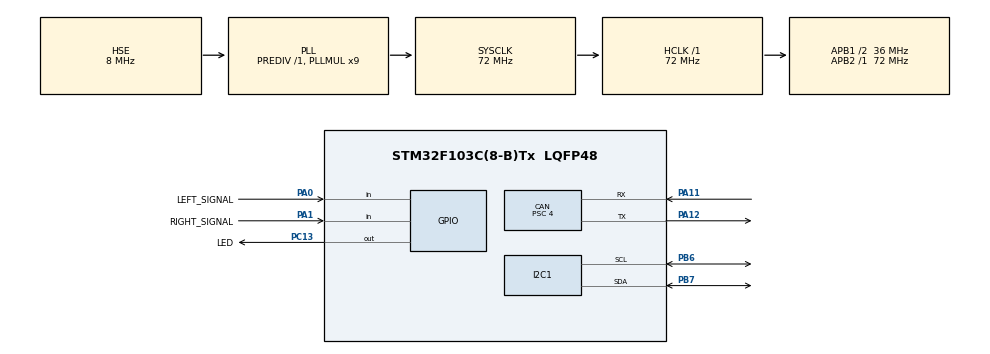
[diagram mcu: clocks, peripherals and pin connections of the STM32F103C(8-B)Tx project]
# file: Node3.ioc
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CAN.ABOM=ENABLE
CAN.BS1=CAN_BS1_12TQ
CAN.BS2=CAN_BS2_5TQ
CAN.CalculateBaudRate=500000
CAN.CalculateTimeBit=2000
CAN.CalculateTimeQuantum=111.11111111111111
CAN.NART=ENABLE
CAN.Prescaler=4
Mcu.Family=STM32F1
Mcu.Name=STM32F103C(8-B)Tx
Mcu.Package=LQFP48
NVIC.PriorityGroup=NVIC_PRIORITYGROUP_4
PA0-WKUP.GPIO_Label=LEFT_SIGNAL
PA0-WKUP.GPIO_PuPd=GPIO_PULLUP
PA0-WKUP.Signal=GPIO_Input
PA1.GPIO_Label=RIGHT_SIGNAL
PA1.GPIO_PuPd=GPIO_PULLUP
PA1.Signal=GPIO_Input
PA11.Mode=CAN_Activate
PA11.Signal=CAN_RX
PA12.Mode=CAN_Activate
PA12.Signal=CAN_TX
PA13.Mode=Serial_Wire
PA13.Signal=SYS_JTMS-SWDIO
PA14.Mode=Serial_Wire
PA14.Signal=SYS_JTCK-SWCLK
PB6.Mode=I2C
PB6.Signal=I2C1_SCL
PB7.Mode=I2C
PB7.Signal=I2C1_SDA
PC13-TAMPER-RTC.GPIO_Label=LED
PC13-TAMPER-RTC.PinState=GPIO_PIN_SET
PC13-TAMPER-RTC.Signal=GPIO_Output
PD0-OSC_IN.Mode=HSE-External-Oscillator
PD0-OSC_IN.Signal=RCC_OSC_IN
PD1-OSC_OUT.Mode=HSE-External-Oscillator
PD1-OSC_OUT.Signal=RCC_OSC_OUT
ProjectManager.HeapSize=0x200
ProjectManager.StackSize=0x400
ProjectManager.TargetToolchain=STM32CubeIDE
RCC.AHBFreq_Value=72000000
RCC.APB1CLKDivider=RCC_HCLK_DIV2
RCC.APB1Freq_Value=36000000
RCC.APB1TimFreq_Value=72000000
RCC.APB2Freq_Value=72000000
RCC.APB2TimFreq_Value=72000000
RCC.HCLKFreq_Value=72000000
RCC.PLLMUL=RCC_PLL_MUL9
RCC.PLLSourceVirtual=RCC_PLLSOURCE_HSE
RCC.SYSCLKFreq_VALUE=72000000
RCC.SYSCLKSource=RCC_SYSCLKSOURCE_PLLCLK
RCC.USBFreq_Value=72000000
board=custom

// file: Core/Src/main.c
/* USER CODE BEGIN Header */
/**
  ******************************************************************************
  * @file    : main.c
  * @brief   : Node 3 -- Environment & Controls
  *            Reads BMP180 temperature and DS3231 RTC via I2C.
  *            Reads Left/Right turn signal GPIO inputs.
  *            Transmits CAN: Temperature, DateTime YYMMDDHHMM, Turn Signals.
  ******************************************************************************
  */
/* USER CODE END Header */

#include "main.h"
#include "can.h"    /* MX_CAN_Init(), hcan handle (defined in can.c)            */
#include "i2c.h"    /* MX_I2C1_Init(), hi2c1 handle (defined in i2c.c)         */
#include "gpio.h"   /* MX_GPIO_Init()                                           */

/* USER CODE BEGIN Includes */
#include <stdint.h>
#include <stdbool.h>
/* USER CODE END Includes */

/* USER CODE BEGIN PD */
/* I2C 8-bit addresses (HAL requires left-shifted 7-bit address)               */
#define BMP180_ADDR_W     (0x77 << 1)    /* 0xEE -- Write                      */
#define BMP180_ADDR_R     (0x77 << 1)    /* Same handle; HAL adds R/W bit      */
#define DS3231_ADDR_W     (0x68 << 1)    /* 0xD0 -- Write                      */
#define DS3231_ADDR_R     (0x68 << 1)    /* Same -- HAL adds R/W bit internally */

#define BMP180_REG_CTRL   0xF4
#define BMP180_REG_OUT_H  0xF6
#define BMP180_CMD_TEMP   0x2E
#define BMP180_CALIB_AC5  0xB2
#define BMP180_CALIB_AC6  0xB4
#define BMP180_CALIB_MC   0xBC
#define BMP180_CALIB_MD   0xBE

#define DS3231_REG_SEC    0x00
#define DEBOUNCE_MS       20U
#define I2C_TIMEOUT_MS    20U

/* Compile-time date/time — expands to build machine local time (Vietnam UTC+7).
 * __DATE__ = "Mmm DD YYYY"  __TIME__ = "HH:MM:SS"
 * Used to initialize DS3231 on first power-up (year == 0). */
#define BUILD_YEAR  ((__DATE__[9] -'0')*10 + (__DATE__[10]-'0'))
#define BUILD_MON   (__DATE__[0]=='J'&&__DATE__[1]=='a'?1: \
                     __DATE__[0]=='F'?2:                   \
                     __DATE__[0]=='M'&&__DATE__[2]=='r'?3: \
                     __DATE__[0]=='A'&&__DATE__[1]=='p'?4: \
                     __DATE__[0]=='M'&&__DATE__[2]=='y'?5: \
                     __DATE__[0]=='J'&&__DATE__[2]=='n'?6: \
                     __DATE__[0]=='J'&&__DATE__[2]=='l'?7: \
                     __DATE__[0]=='A'?8:                   \
                     __DATE__[0]=='S'?9:                   \
                     __DATE__[0]=='O'?10:                  \
                     __DATE__[0]=='N'?11:12)
#define BUILD_DAY   ((__DATE__[4]==' '?0:(__DATE__[4]-'0'))*10 + (__DATE__[5]-'0'))
#define BUILD_HOUR  ((__TIME__[0]-'0')*10 + (__TIME__[1]-'0'))
#define BUILD_MIN   ((__TIME__[3]-'0')*10 + (__TIME__[4]-'0'))
/* USER CODE END PD */

/* NOTE: hcan is declared in can.c / can.h -- do NOT redeclare here.           */
/* NOTE: hi2c1 is declared in i2c.c / i2c.h -- do NOT redeclare here.         */

/* USER CODE BEGIN PV */
static uint16_t bmp_AC5      = 0;
static uint16_t bmp_AC6      = 0;
static int16_t  bmp_MC       = 0;
static int16_t  bmp_MD       = 0;
static bool     bmp_calibrated = false;

typedef struct {
    GPIO_PinState raw_state;
    GPIO_PinState debounced_state;
    uint32_t      last_change_tick;
} Debounce_t;

static Debounce_t sig_left  = { GPIO_PIN_SET, GPIO_PIN_SET, 0 };
static Debounce_t sig_right = { GPIO_PIN_SET, GPIO_PIN_SET, 0 };
/* Default 0xFF: assume absent until HAL_OK confirms presence */
static uint8_t hb_bmp180 = 0xFF;
static uint8_t hb_ds3231 = 0xFF;
/* USER CODE END PV */

void SystemClock_Config(void);

/* USER CODE BEGIN 0 */

static uint8_t debounce_read(Debounce_t *sig, GPIO_TypeDef *port, uint16_t pin)
{
    GPIO_PinState raw = HAL_GPIO_ReadPin(port, pin);
    uint32_t now = HAL_GetTick();
    if (raw != sig->raw_state) { sig->raw_state = raw; sig->last_change_tick = now; }
    if ((now - sig->last_change_tick) >= DEBOUNCE_MS) sig->debounced_state = sig->raw_state;
    return (sig->debounced_state == GPIO_PIN_RESET) ? 1U : 0U;
}

static HAL_StatusTypeDef bmp180_read_calibration(void)
{
    uint8_t buf[2]; HAL_StatusTypeDef ret; uint8_t reg;
    reg = BMP180_CALIB_AC5;
    ret = HAL_I2C_Master_Transmit(&hi2c1, BMP180_ADDR_W, &reg, 1, I2C_TIMEOUT_MS); if (ret != HAL_OK) return ret;
    ret = HAL_I2C_Master_Receive(&hi2c1, BMP180_ADDR_R | 1, buf, 2, I2C_TIMEOUT_MS); if (ret != HAL_OK) return ret;
    bmp_AC5 = ((uint16_t)buf[0] << 8) | buf[1];
    reg = BMP180_CALIB_AC6;
    ret = HAL_I2C_Master_Transmit(&hi2c1, BMP180_ADDR_W, &reg, 1, I2C_TIMEOUT_MS); if (ret != HAL_OK) return ret;
    ret = HAL_I2C_Master_Receive(&hi2c1, BMP180_ADDR_R | 1, buf, 2, I2C_TIMEOUT_MS); if (ret != HAL_OK) return ret;
    bmp_AC6 = ((uint16_t)buf[0] << 8) | buf[1];
    reg = BMP180_CALIB_MC;
    ret = HAL_I2C_Master_Transmit(&hi2c1, BMP180_ADDR_W, &reg, 1, I2C_TIMEOUT_MS); if (ret != HAL_OK) return ret;
    ret = HAL_I2C_Master_Receive(&hi2c1, BMP180_ADDR_R | 1, buf, 2, I2C_TIMEOUT_MS); if (ret != HAL_OK) return ret;
    bmp_MC = (int16_t)(((uint16_t)buf[0] << 8) | buf[1]);
    reg = BMP180_CALIB_MD;
    ret = HAL_I2C_Master_Transmit(&hi2c1, BMP180_ADDR_W, &reg, 1, I2C_TIMEOUT_MS); if (ret != HAL_OK) return ret;
    ret = HAL_I2C_Master_Receive(&hi2c1, BMP180_ADDR_R | 1, buf, 2, I2C_TIMEOUT_MS); if (ret != HAL_OK) return ret;
    bmp_MD = (int16_t)(((uint16_t)buf[0] << 8) | buf[1]);
    bmp_calibrated = true;
    return HAL_OK;
}

static HAL_StatusTypeDef bmp180_read_temperature(int8_t *out_temp_c)
{
    if (!bmp_calibrated) return HAL_ERROR;
    uint8_t buf[2]; HAL_StatusTypeDef ret;
    uint8_t cmd[2] = { BMP180_REG_CTRL, BMP180_CMD_TEMP };
    ret = HAL_I2C_Master_Transmit(&hi2c1, BMP180_ADDR_W, cmd, 2, I2C_TIMEOUT_MS); if (ret != HAL_OK) return ret;
    HAL_Delay(5);   /* BMP180 needs >= 4.5 ms conversion time (OSS=0) */
    uint8_t reg = BMP180_REG_OUT_H;
    ret = HAL_I2C_Master_Transmit(&hi2c1, BMP180_ADDR_W, &reg, 1, I2C_TIMEOUT_MS); if (ret != HAL_OK) return ret;
    ret = HAL_I2C_Master_Receive(&hi2c1, BMP180_ADDR_R | 1, buf, 2, I2C_TIMEOUT_MS); if (ret != HAL_OK) return ret;
    int32_t UT = ((int32_t)buf[0] << 8) | buf[1];
    int32_t X1 = ((UT - (int32_t)bmp_AC6) * (int32_t)bmp_AC5) >> 15;
    int32_t X2 = ((int32_t)bmp_MC << 11) / (X1 + (int32_t)bmp_MD);
    int32_t B5 = X1 + X2;
    int32_t T  = (B5 + 8) >> 4;   /* units: 0.1 degC */
    int32_t temp = T / 10;
    if (temp < -40) temp = -40;
    if (temp > 120) temp = 120;
    *out_temp_c = (int8_t)temp;
    return HAL_OK;
}

static inline uint8_t bcd_to_dec(uint8_t bcd) { return (uint8_t)((bcd >> 4) * 10U + (bcd & 0x0FU)); }
static inline uint8_t dec_to_bcd(uint8_t dec) { return (uint8_t)(((dec / 10) << 4) | (dec % 10)); }

static HAL_StatusTypeDef ds3231_read_datetime(uint8_t *out_buf)
{
    uint8_t rtc_buf[7] = {0}; uint8_t reg = DS3231_REG_SEC; HAL_StatusTypeDef ret;
    ret = HAL_I2C_Master_Transmit(&hi2c1, DS3231_ADDR_W, &reg, 1, I2C_TIMEOUT_MS); if (ret != HAL_OK) return ret;
    ret = HAL_I2C_Master_Receive(&hi2c1, DS3231_ADDR_R | 1, rtc_buf, 7, I2C_TIMEOUT_MS); if (ret != HAL_OK) return ret;
    out_buf[0] = bcd_to_dec(rtc_buf[6]);           /* YY */
    out_buf[1] = bcd_to_dec(rtc_buf[5] & 0x1FU);   /* MM */
    out_buf[2] = bcd_to_dec(rtc_buf[4] & 0x3FU);   /* DD */
    out_buf[3] = bcd_to_dec(rtc_buf[2] & 0x3FU);   /* HH */
    out_buf[4] = bcd_to_dec(rtc_buf[1] & 0x7FU);   /* Min */
    return HAL_OK;
}
static HAL_StatusTypeDef ds3231_set_datetime(uint8_t yy, uint8_t mo, uint8_t dd,
                                              uint8_t hh, uint8_t mn)
{
    uint8_t buf[8] = {
        DS3231_REG_SEC,
        0x00,               /* seconds = 0 */
        dec_to_bcd(mn),     /* minutes */
        dec_to_bcd(hh),     /* hours (24 h) */
        0x01,               /* day-of-week (unused by dashboard) */
        dec_to_bcd(dd),     /* date */
        dec_to_bcd(mo),     /* month */
        dec_to_bcd(yy)      /* year (2-digit) */
    };
    return HAL_I2C_Master_Transmit(&hi2c1, DS3231_ADDR_W, buf, 8, I2C_TIMEOUT_MS);
}

static void i2c_bus_reset(void)
{
    /* Release stuck I2C bus by clocking SCL until slave releases SDA.
     * Used when post-reset BMP180 or DS3231 leaves SDA stuck low. */
    __HAL_I2C_DISABLE(&hi2c1);
    HAL_Delay(1);

    /* Switch PB6 (SCL) and PB7 (SDA) to GPIO output open-drain for manual recovery */
    GPIO_InitTypeDef g = {0};
    g.Pin   = GPIO_PIN_6 | GPIO_PIN_7;
    g.Mode  = GPIO_MODE_OUTPUT_OD;
    g.Speed = GPIO_SPEED_FREQ_LOW;
    g.Pull  = GPIO_NOPULL;
    HAL_GPIO_Init(GPIOB, &g);
    HAL_Delay(1);

    /* Ensure both lines are HIGH to start */
    HAL_GPIO_WritePin(GPIOB, GPIO_PIN_6, GPIO_PIN_SET);
    HAL_GPIO_WritePin(GPIOB, GPIO_PIN_7, GPIO_PIN_SET);
    HAL_Delay(1);

    /* Clock SCL until SDA goes HIGH (slave releases bus), max 80 pulses */
    for (int i = 0; i < 80; i++) {
        if (HAL_GPIO_ReadPin(GPIOB, GPIO_PIN_7) == GPIO_PIN_SET) break;
        HAL_GPIO_WritePin(GPIOB, GPIO_PIN_6, GPIO_PIN_RESET);
        HAL_Delay(1);
        HAL_GPIO_WritePin(GPIOB, GPIO_PIN_6, GPIO_PIN_SET);
        HAL_Delay(1);
    }

    /* Generate STOP condition: SCL LOW → SDA LOW → SCL HIGH → SDA HIGH */
    HAL_GPIO_WritePin(GPIOB, GPIO_PIN_6, GPIO_PIN_RESET);
    HAL_Delay(1);
    HAL_GPIO_WritePin(GPIOB, GPIO_PIN_7, GPIO_PIN_RESET);
    HAL_Delay(1);
    HAL_GPIO_WritePin(GPIOB, GPIO_PIN_6, GPIO_PIN_SET);
    HAL_Delay(1);
    HAL_GPIO_WritePin(GPIOB, GPIO_PIN_7, GPIO_PIN_SET);
    HAL_Delay(1);

    /* Software reset of I2C peripheral */
    hi2c1.Instance->CR1 |= I2C_CR1_SWRST;
    HAL_Delay(1);
    hi2c1.Instance->CR1 &= ~I2C_CR1_SWRST;

    /* Force MspInit to restore PB6/PB7 to alternate-function open-drain */
    hi2c1.State = HAL_I2C_STATE_RESET;
    MX_I2C1_Init();

    bmp_calibrated = false;
    bmp180_read_calibration();
}

/* USER CODE END 0 */

int main(void)
{

  /* MCU Configuration--------------------------------------------------------*/

  /* Reset of all peripherals, Initializes the Flash interface and the Systick. */
  HAL_Init();

  /* Configure the system clock */
  SystemClock_Config();

  /* Initialize all configured peripherals */
  MX_GPIO_Init();
  MX_CAN_Init();
  MX_I2C1_Init();

  /* USER CODE BEGIN 2 */

  bmp180_read_calibration();   /* bmp_calibrated stays false if sensor absent  */

  /* Set RTC if uninitialized (year == 0: chip never set or lost battery backup) */
  {
      uint8_t dt_init[5];
      if (ds3231_read_datetime(dt_init) == HAL_OK && dt_init[0] == 0)
          ds3231_set_datetime(BUILD_YEAR, BUILD_MON, BUILD_DAY, BUILD_HOUR, BUILD_MIN);
  }

  /* CAN Filter -- Accept-All (32-bit mask mode, mask=0x0000 -> all IDs pass).
   * Required before HAL_CAN_Start(). Without it the STM32 CAN peripheral will
   * not acknowledge any frame on the bus, causing Bus-Off. */
  CAN_FilterTypeDef sFilterConfig;
  sFilterConfig.FilterBank           = 0;
  sFilterConfig.FilterMode           = CAN_FILTERMODE_IDMASK;
  sFilterConfig.FilterScale          = CAN_FILTERSCALE_32BIT;
  sFilterConfig.FilterIdHigh         = 0x0000;
  sFilterConfig.FilterIdLow          = 0x0000;
  sFilterConfig.FilterMaskIdHigh     = 0x0000;   /* mask=0 -> all ID bits are don't-care */
  sFilterConfig.FilterMaskIdLow      = 0x0000;
  sFilterConfig.FilterFIFOAssignment = CAN_RX_FIFO0;
  sFilterConfig.FilterActivation     = ENABLE;
  sFilterConfig.SlaveStartFilterBank = 14;       /* STM32F103 single-CAN: irrelevant but required */
  if (HAL_CAN_ConfigFilter(&hcan, &sFilterConfig) != HAL_OK)
  {
    Error_Handler();
  }

  if (HAL_CAN_Start(&hcan) != HAL_OK)
  {
    /* 5 Hz fast blink on PC13: CAN_Start failed. PC13 is active-LOW. */
    while (1)
    {
      HAL_GPIO_TogglePin(GPIOC, GPIO_PIN_13);
      HAL_Delay(100);   /* 100 ms -> 5 Hz */
    }
  }

  CAN_TxHeaderTypeDef TxHeader;
  uint32_t TxMailbox;
  TxHeader.IDE = CAN_ID_STD;
  TxHeader.RTR = CAN_RTR_DATA;
  TxHeader.DLC = 1;
  TxHeader.TransmitGlobalTime = DISABLE;

  uint32_t last_env_tx  = 0;
  uint32_t last_sig_tx  = 0;
  uint32_t last_led_tick = 0;

  /* USER CODE END 2 */

  /* Infinite loop */
  /* USER CODE BEGIN WHILE */
  while (1)
  {
    uint32_t now = HAL_GetTick();

    /* Non-blocking 1 Hz LED heartbeat -- PC13 active-LOW */
    if ((now - last_led_tick) >= 500) { last_led_tick = now; HAL_GPIO_TogglePin(GPIOC, GPIO_PIN_13); }

    /* BLOCK A -- Turn Signals @ 20 Hz (every 50 ms) */
    if ((now - last_sig_tx) >= 50) {
      last_sig_tx = now;
      uint8_t left  = debounce_read(&sig_left,  RIGHT_SIGNAL_GPIO_Port, RIGHT_SIGNAL_Pin);
      uint8_t right = debounce_read(&sig_right, LEFT_SIGNAL_GPIO_Port,  LEFT_SIGNAL_Pin);
      if (HAL_CAN_GetTxMailboxesFreeLevel(&hcan) > 0) {
        uint8_t sig_byte = (uint8_t)((right << 1) | left);
        TxHeader.StdId = 0x107; TxHeader.DLC = 1;
        HAL_CAN_AddTxMessage(&hcan, &TxHeader, &sig_byte, &TxMailbox);
      }
    }

    /* BLOCK B -- Temperature + RTC @ 1 Hz (every 1000 ms) */
    if ((now - last_env_tx) >= 1000) {
      last_env_tx = now;

      /* Re-calibrate BMP180 if calibration was lost (sensor was temporarily
       * absent). Benign no-op when sensor is still absent; succeeds immediately
       * when sensor is re-plugged so the next temperature read works. */
      if (!bmp_calibrated) {
          bmp180_read_calibration();
      }

      /* TX: 0x103 -- Temperature (byte[0] = signed int8 cast to uint8) */
      int8_t temp_c = 0;
      if (bmp180_read_temperature(&temp_c) == HAL_OK) {
        hb_bmp180 = 0x01;
        if (HAL_CAN_GetTxMailboxesFreeLevel(&hcan) > 0) {
          uint8_t temp_byte = (uint8_t)temp_c;
          TxHeader.StdId = 0x103; TxHeader.DLC = 1;
          HAL_CAN_AddTxMessage(&hcan, &TxHeader, &temp_byte, &TxMailbox);
        }
      } else {
        hb_bmp180 = 0xFF;
      }

      /* TX: 0x105 -- DateTime YYMMDDHHMM (5 bytes) */
      uint8_t dt_buf[5];
      if (ds3231_read_datetime(dt_buf) == HAL_OK) {
        hb_ds3231 = 0x01;
        if (HAL_CAN_GetTxMailboxesFreeLevel(&hcan) > 0) {
          TxHeader.StdId = 0x105; TxHeader.DLC = 5;
          HAL_CAN_AddTxMessage(&hcan, &TxHeader, dt_buf, &TxMailbox);
        }
      } else {
        hb_ds3231 = 0xFF;
      }

      /* Bus reset when DS3231 fails or BMP180 calibration is lost.
       * Either condition indicates a stuck I2C bus that needs SCL clock recovery. */
      if (hb_ds3231 == 0xFF || !bmp_calibrated)
          i2c_bus_reset();
    }
    /* TX: 0x1F3 -- Node 3 Heartbeat @ 500 ms
     * byte[0] = BMP180 health (0x01=HAL_OK, 0xFF=absent/error)
     * byte[1] = DS3231 health (0x01=HAL_OK, 0xFF=absent/error)
     * byte[2] = Signal GPIO  (0x01 always -- GPIO failure is chip-level fault) */
    {
      static uint32_t last_hb3_tick = 0;
      uint32_t now_hb3 = HAL_GetTick();
      if ((now_hb3 - last_hb3_tick) >= 500)
      {
        last_hb3_tick = now_hb3;
        if (HAL_CAN_GetTxMailboxesFreeLevel(&hcan) > 0)
        {
          uint8_t HB3[8] = {hb_bmp180, hb_ds3231, 0x01, 0x00, 0x00, 0x00, 0x00, 0x00};
          TxHeader.StdId = 0x1F3;
          TxHeader.DLC   = 8;
          HAL_CAN_AddTxMessage(&hcan, &TxHeader, HB3, &TxMailbox);
          TxHeader.DLC   = 1;   /* restore: normal Node 3 frames use DLC=1 */
        }
      }
    }

    /* USER CODE END WHILE */

  }
}

void SystemClock_Config(void)
{
  RCC_OscInitTypeDef RCC_OscInitStruct = {0};
  RCC_ClkInitTypeDef RCC_ClkInitStruct = {0};

  RCC_OscInitStruct.OscillatorType = RCC_OSCILLATORTYPE_HSE;
  RCC_OscInitStruct.HSEState       = RCC_HSE_ON;
  RCC_OscInitStruct.HSEPredivValue = RCC_HSE_PREDIV_DIV1;
  RCC_OscInitStruct.HSIState       = RCC_HSI_ON;
  RCC_OscInitStruct.PLL.PLLState   = RCC_PLL_ON;
  RCC_OscInitStruct.PLL.PLLSource  = RCC_PLLSOURCE_HSE;
  RCC_OscInitStruct.PLL.PLLMUL     = RCC_PLL_MUL9;
  if (HAL_RCC_OscConfig(&RCC_OscInitStruct) != HAL_OK) { Error_Handler(); }

  RCC_ClkInitStruct.ClockType      = RCC_CLOCKTYPE_HCLK | RCC_CLOCKTYPE_SYSCLK
                                   | RCC_CLOCKTYPE_PCLK1 | RCC_CLOCKTYPE_PCLK2;
  RCC_ClkInitStruct.SYSCLKSource   = RCC_SYSCLKSOURCE_PLLCLK;
  RCC_ClkInitStruct.AHBCLKDivider  = RCC_SYSCLK_DIV1;
  RCC_ClkInitStruct.APB1CLKDivider = RCC_HCLK_DIV2;
  RCC_ClkInitStruct.APB2CLKDivider = RCC_HCLK_DIV1;
  if (HAL_RCC_ClockConfig(&RCC_ClkInitStruct, FLASH_LATENCY_2) != HAL_OK) { Error_Handler(); }
}

void Error_Handler(void)
{
  __disable_irq();
  while (1) {}
}
